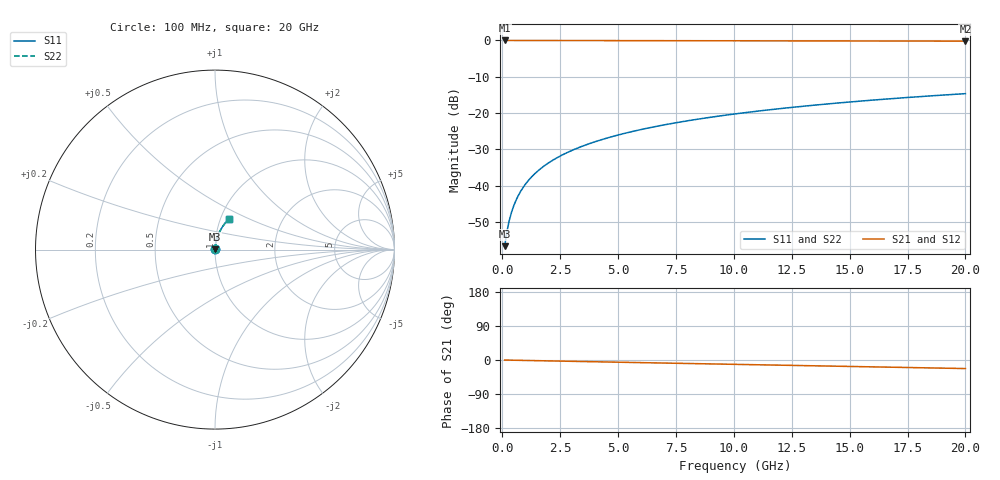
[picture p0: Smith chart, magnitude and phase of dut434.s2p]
! Touchstone file exported from HFSS 2026.1.0
!  File:  C:/ffzhzh/LocalFiles/Ansys_Project_Files/temp_train_BSMRDL_434_1783012984_4048.aedt
!  Generated:  01:24:28 AM Jul  3, 2026
!  Design:  BSMRDL
!  Project:  temp_train_BSMRDL_434_1783012984_4048
! Variables:
!  h_bsmrdl = 5.36um
!  h_ox = 20um
!  h_rdl = 5um
!  h_sub = 80um
!  h_tmrdl = 5um
!  h_tsv = 80um
!  h_via = 3um
!  l_bsmrdl = 320.57um
!  l_sub = 720.57um
!  l_tmrdl = 200um
!  m_sub = 200um
!  pitch = 53.13um
!  r_tsv = 6um
!  s_tmrdl = 10um
!  w_bsmrdl = 29.3um
!  w_sub = 500um
!  w_tmrdl = 12um
!  x_tsv_center1 = 206um
!  x_tsv_center2 = 555.87um
!  x_tsv_center3 = 767.87um
!  x_tsv_center4 = 1117.74um
!  x_tsv_center5 = 1329.74um
!  x_tsv_center6 = 1679.61um
# GHz S MA R 50.000000
! Terminal data exported
! Port[1] = BSM_RDL1_1_T1
! Port[2] = BSM_RDL1_1_T2
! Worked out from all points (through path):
!   200 points, 100 MHz to 20 GHz, reference 50 ohm
!   highest |S21| = -0.01 dB at 100 MHz (marker M1); lowest = -0.2 dB at 20 GHz (marker M2)
!   group delay of S21, straight-line fit = 3.13 ps
!   lowest |S11| = -56.7 dB at 100 MHz (marker M3), VSWR 1.00, Z = 50.1 + j0.114 ohm
!   |S11| at or under -10 dB: start of sweep to end of sweep
!   |S22| runs from -56.7 to -14.7 dB; largest |S21 - S12| = 4e-15
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0.1  0.001459 51.1  0.9991 -0.1  0.9991 -0.1  0.001459 51.1
! Gamma 0 0 0 0
! Port Impedance 50 0 50 0
0.2  0.002322 66.5  0.999 -0.2  0.999 -0.2  0.002322 66.5
0.3  0.003293 73.3  0.9989 -0.4  0.9989 -0.4  0.003293 73.3
0.4  0.004297 76.9  0.9989 -0.5  0.9989 -0.5  0.004297 76.9
0.5  0.005314 79.0  0.9988 -0.6  0.9988 -0.6  0.005314 79.0
0.7  0.007364 81.3  0.9988 -0.8  0.9988 -0.8  0.007364 81.3
0.8  0.00839 82.0  0.9987 -0.9  0.9987 -0.9  0.00839 82.0
1  0.01044 82.8  0.9987 -1.2  0.9987 -1.2  0.01044 82.8
1.2  0.01248 83.2  0.9986 -1.4  0.9986 -1.4  0.01248 83.2
1.4  0.01451 83.4  0.9985 -1.7  0.9985 -1.7  0.01451 83.4
1.7  0.01754 83.4  0.9984 -2.0  0.9984 -2.0  0.01754 83.4
2  0.02054 83.4  0.9982 -2.4  0.9982 -2.4  0.02054 83.4
2.7  0.02747 83.0  0.9978 -3.2  0.9978 -3.2  0.02747 83.0
3.5  0.03527 82.3  0.9972 -4.1  0.9972 -4.1  0.03527 82.3
4.2  0.04203 81.7  0.9967 -4.9  0.9967 -4.9  0.04203 81.7
5  0.0497 81.0  0.996 -5.8  0.996 -5.8  0.0497 81.0
6.8  0.06678 79.3  0.9945 -7.9  0.9945 -7.9  0.06678 79.3
8.3  0.08085 77.9  0.9931 -9.6  0.9931 -9.6  0.08085 77.9
10.1  0.09753 76.0  0.9912 -11.6  0.9912 -11.6  0.09753 76.0
13.4  0.1275 72.6  0.9872 -15.3  0.9872 -15.3  0.1275 72.6
16.7  0.1566 69.1  0.9825 -19.0  0.9825 -19.0  0.1566 69.1
20  0.1847 65.7  0.9772 -22.6  0.9772 -22.6  0.1847 65.7
